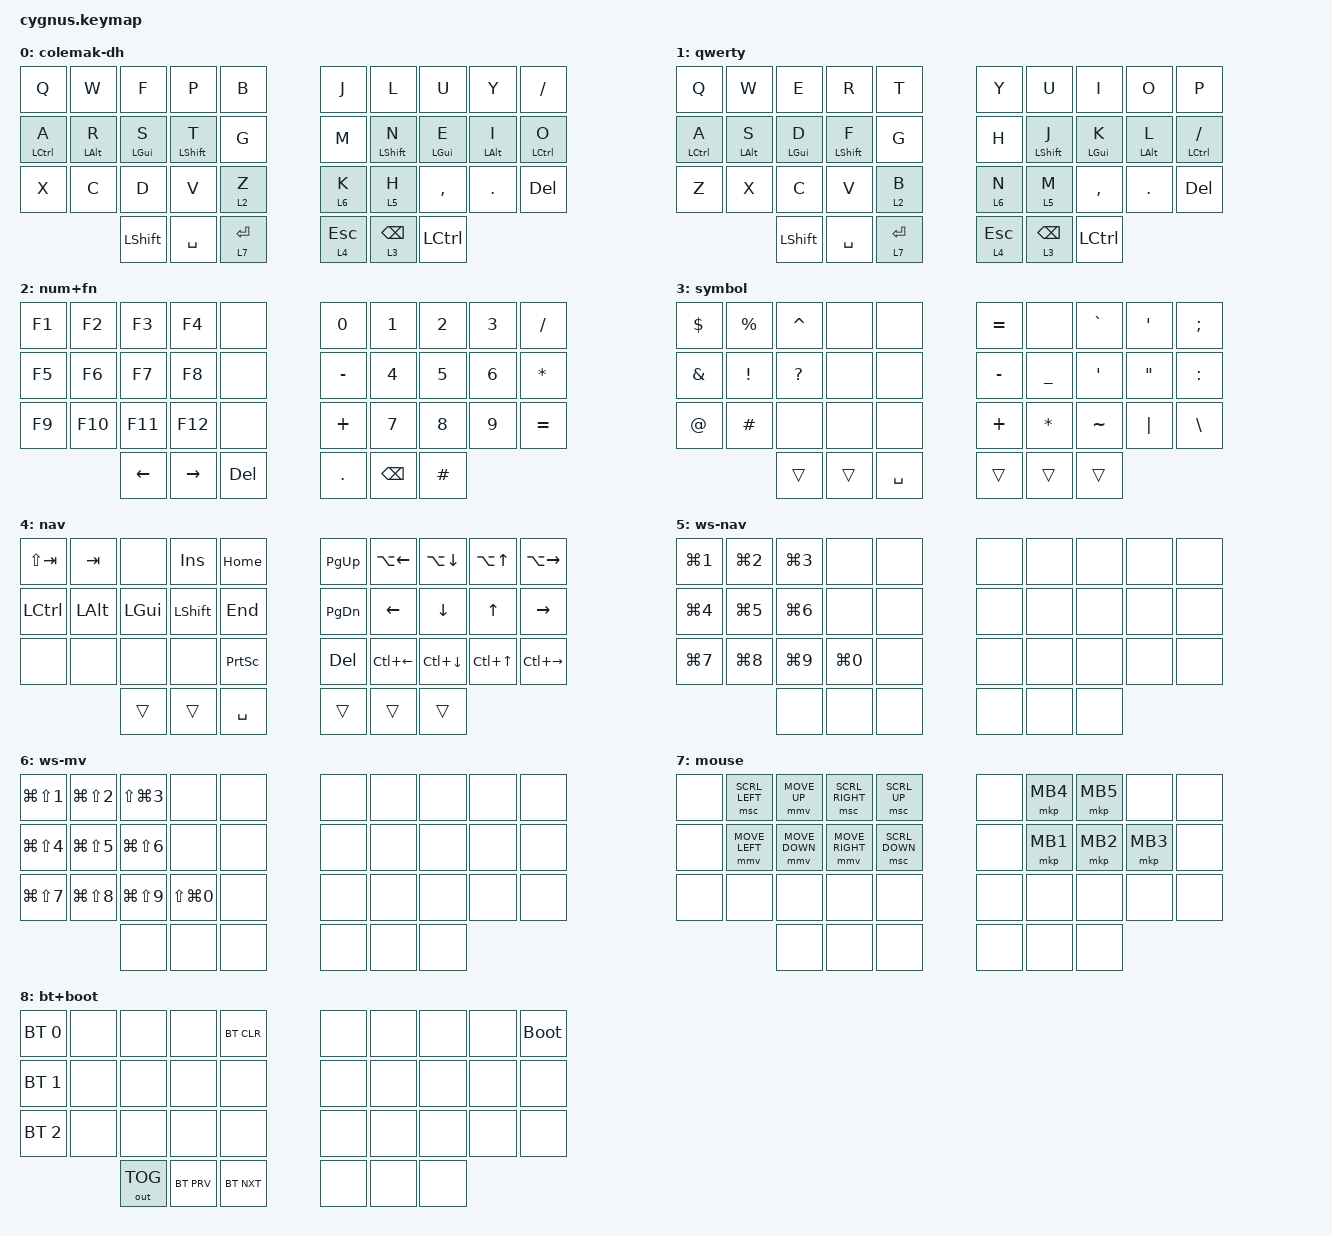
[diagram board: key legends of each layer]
#include <behaviors.dtsi>
#include <dt-bindings/zmk/bt.h>
#include <dt-bindings/zmk/keys.h>
#include <dt-bindings/zmk/outputs.h>

#define ZMK_POINTING_DEFAULT_MOVE_VAL 1500  // default: 600
#define ZMK_POINTING_DEFAULT_SCRL_VAL 20    // default: 10
#include <dt-bindings/zmk/pointing.h>

#define COMBO_TERM_FAST 45
#define COMBO_TERM_SLOW 55
#define COMBO_PRIOR_IDLE 135

#define QUICK_TAP_MS 175
#include "zmk-helpers/key-labels/36.h"
#include "zmk-helpers/helper.h"

/* Homerow mods */
/* use helper macros to define left and right hand keys */
#define KEYS_L LT0 LT1 LT2 LT3 LT4 LM0 LM1 LM2 LM3 LM4 LB0 LB1 LB2 LB3 LB4  // left-hand keys
#define KEYS_R RT0 RT1 RT2 RT3 RT4 RM0 RM1 RM2 RM3 RM4 RB0 RB1 RB2 RB3 RB4  // right-hand keys
#define THUMBS LH2 LH1 LH0 RH0 RH1 RH2                                      // thumb keys

/* left-hand HRMs */
ZMK_HOLD_TAP(hml,
    flavor = "balanced";
    tapping-term-ms = <280>;
    quick-tap-ms = <175>;                // repeat on tap-into-hold
    require-prior-idle-ms = <200>;
    bindings = <&kp>, <&kp>;
    hold-trigger-key-positions = <KEYS_R THUMBS>;
    hold-trigger-on-release;             // delay positional check until key-release
)

/* right-hand HRMs */
ZMK_HOLD_TAP(hmr,
    flavor = "balanced";
    tapping-term-ms = <280>;
    quick-tap-ms = <175>;                // repeat on tap-into-hold
    require-prior-idle-ms = <180>;
    bindings = <&kp>, <&kp>;
    hold-trigger-key-positions = <KEYS_L THUMBS>;
    hold-trigger-on-release;             // delay positional check until key-release
)

/ {
    behaviors {
        lt: layer_tap {
            compatible = "zmk,behavior-hold-tap";
            #binding-cells = <2>;
            flavor = "balanced";
            tapping-term-ms = <240>;
            quick-tap-ms = <125>;
            bindings = <&mo>, <&kp>;
        };

        at: alpha_tap {
            compatible = "zmk,behavior-hold-tap";
            #binding-cells = <2>;
            flavor = "balanced";
            tapping-term-ms = <240>;
            quick-tap-ms = <175>;
            require-prior-idle-ms = <175>;
            bindings = <&mo>, <&kp>;
        };
    };

    combos {
        compatible = "zmk,combos";

        escape {
            bindings = <&kp ESCAPE>;
            key-positions = <8 9>;
            require-prior-idle-ms = <COMBO_PRIOR_IDLE>;
        };

        tab {
            bindings = <&kp TAB>;
            key-positions = <0 1>;
            require-prior-idle-ms = <COMBO_PRIOR_IDLE>;
        };

        ctrl_backspace {
            bindings = <&kp LC(BACKSPACE)>;
            key-positions = <28 29>;
            require-prior-idle-ms = <COMBO_PRIOR_IDLE>;
        };

        caps_word {
            bindings = <&caps_word>;
            key-positions = <14 15>;
            require-prior-idle-ms = <COMBO_PRIOR_IDLE>;
        };

        capslock {
            bindings = <&kp CAPSLOCK>;
            key-positions = <20 29>;
            require-prior-idle-ms = <COMBO_PRIOR_IDLE>;
        };

        sticky_gui {
            bindings = <&sk LGUI>;
            key-positions = <12 17>;
            require-prior-idle-ms = <COMBO_PRIOR_IDLE>;
        };

        sticky_alt {
            bindings = <&sk LALT>;
            key-positions = <11 18>;
            require-prior-idle-ms = <COMBO_PRIOR_IDLE>;
        };

        sticky_ctrl {
            bindings = <&sk LCTRL>;
            key-positions = <10 19>;
            require-prior-idle-ms = <COMBO_PRIOR_IDLE>;
        };

        qwerty_toggle {
            bindings = <&tog 1>;
            key-positions = <3 4 5 6>;
        };

        btconfig {
            bindings = <&mo 8>;
            key-positions = <5 6 7 8>;
        };

        leftpar {
            bindings = <&kp LPAR>;
            key-positions = <23 24>;
            require-prior-idle-ms = <COMBO_PRIOR_IDLE>;
        };

        leftbracket {
            bindings = <&kp LEFT_BRACKET>;
            key-positions = <13 14>;
            require-prior-idle-ms = <COMBO_PRIOR_IDLE>;
        };

        leftbrace {
            bindings = <&kp LEFT_BRACE>;
            key-positions = <3 4>;
            require-prior-idle-ms = <COMBO_PRIOR_IDLE>;
        };

        rightpar {
            bindings = <&kp RPAR>;
            key-positions = <25 26>;
            require-prior-idle-ms = <COMBO_PRIOR_IDLE>;
        };

        rightbracket {
            bindings = <&kp RIGHT_BRACKET>;
            key-positions = <15 16>;
            require-prior-idle-ms = <COMBO_PRIOR_IDLE>;
        };

        rightbrace {
            bindings = <&kp RIGHT_BRACE>;
            key-positions = <5 6>;
            require-prior-idle-ms = <COMBO_PRIOR_IDLE>;
        };

        lessthan {
            bindings = <&kp LESS_THAN>;
            key-positions = <22 23>;
            require-prior-idle-ms = <COMBO_PRIOR_IDLE>;
        };

        greaterthan {
            bindings = <&kp GREATER_THAN>;
            key-positions = <26 27>;
            require-prior-idle-ms = <COMBO_PRIOR_IDLE>;
        };

        macro {
            bindings = <&macro1>;
            key-positions = <7 8 9>;
            layers = <2>;
        };

        macro2 {
            bindings = <&macro2>;
            key-positions = <17 18 19>;
            layers = <2>;
        };

        macro3 {
            bindings = <&macro3>;
            key-positions = <27 28 29>;
            layers = <2>;
        };
        macro4 {
            bindings = <&macro4>;
            key-positions = <26 27 28 29>;
            layers = <2>;
        };
    };

    macros {
        macro1: macro1 {
            compatible = "zmk,behavior-macro";
            #binding-cells = <0>;
            bindings = <&kp T &kp E &kp S &kp T &kp RET>;
            label = "MACRO1";
        };

        macro2: macro2 {
            compatible = "zmk,behavior-macro";
            #binding-cells = <0>;
            bindings = <&kp T &kp E &kp S &kp T &kp RET>;
            label = "MACRO2";
        };

        macro3: macro3 {
            compatible = "zmk,behavior-macro";
            #binding-cells = <0>;
            bindings = <&kp T &kp E &kp S &kp T &kp RET>;
            label = "MACRO3";
        };
        macro4: macro4 {
            compatible = "zmk,behavior-macro";
            #binding-cells = <0>;
            bindings = <&kp T &kp E &kp S &kp T &kp RET>;
            label = "MACRO4";
        };

    };

    keymap {
        compatible = "zmk,keymap";

        colemak-dh {
            bindings = <
  &kp Q         &kp W        &kp F        &kp P          &kp B          &kp J         &kp L            &kp U           &kp Y        &kp SLASH
  &hml LCTRL A  &hml LALT R  &hml LGUI S  &hml LSHIFT T  &kp G          &kp M         &hmr LSHIFT N    &hmr LGUI E     &hmr LALT I  &hmr LCTRL O
  &kp X         &kp C        &kp D        &kp V          &at 2 Z        &at 6 K       &at 5 H          &kp COMMA       &kp DOT      &kp DELETE
                             &kp LSHIFT   &kp SPACE      &lt 7 ENTER    &lt 4 ESC     &lt 3 BACKSPACE  &kp LCTRL

            >;
        };

        qwerty {
            label = "qwerty";
            bindings = <
  &kp Q         &kp W        &kp E         &kp R          &kp T          &kp Y         &kp U               &kp I          &kp O          &kp P
  &hml LCTRL A  &hml LALT S  &hml LGUI D   &hml LSHIFT F  &kp G          &kp H         &hmr LSHIFT J       &hmr LGUI K    &hmr LALT L    &hmr LCTRL SLASH
  &kp Z         &kp X        &kp C         &kp V          &at 2 B        &at 6 N       &at 5 M             &kp COMMA      &kp DOT        &kp DELETE
                             &kp LSHIFT    &kp SPACE      &lt 7 ENTER    &lt 4 ESC     &lt 3 BACKSPACE     &kp LCTRL
            >;
        };

        num+fn {
            label = "num+fn";
            bindings = <
  &kp F1  &kp F2   &kp F3    &kp F4     &none         &kp N0      &kp N1         &kp N2    &kp N3    &kp SLASH
  &kp F5  &kp F6   &kp F7    &kp F8     &none         &kp MINUS   &kp N4         &kp N5    &kp N6    &kp ASTRK
  &kp F9  &kp F10  &kp F11   &kp F12    &none         &kp PLUS    &kp N7         &kp N8    &kp N9    &kp EQUAL
                   &kp LEFT  &kp RIGHT  &kp DELETE    &kp PERIOD  &kp BACKSPACE  &kp HASH
            >;
        };

        symbol {
            label = "symbol";
            bindings = <
  &kp DOLLAR  &kp PERCENT  &kp CARET  &none      &none        &kp EQUAL  &none           &kp GRAVE  &kp SINGLE_QUOTE   &kp SEMICOLON
  &kp AMPS    &kp EXCL     &kp QMARK  &none      &none        &kp MINUS  &kp UNDERSCORE  &kp SQT    &kp DOUBLE_QUOTES  &kp COLON
  &kp AT      &kp HASH     &none      &none      &none        &kp PLUS   &kp ASTERISK    &kp TILDE  &kp PIPE           &kp BACKSLASH
                           &trans     &trans     &kp SPACE    &trans     &trans          &trans
            >;
        };

        nav {
            label = "nav";
            bindings = <
  &kp LS(TAB)  &kp TAB   &none     &kp INSERT  &kp HOME           &kp PAGE_UP    &kp LA(LEFT)  &kp LA(DOWN)  &kp LA(UP)  &kp LA(RIGHT)
  &kp LCTRL    &kp LALT  &kp LGUI  &kp LSHIFT  &kp END            &kp PAGE_DOWN  &kp LEFT      &kp DOWN      &kp UP      &kp RIGHT
  &none        &none     &none     &none       &kp PRINTSCREEN    &kp DELETE     &kp LC(LEFT)  &kp LC(DOWN)  &kp LC(UP)  &kp LC(RIGHT)
                         &trans    &trans      &kp SPACE          &trans         &trans        &trans
            >;
        };

        workspace-nav {
            label = "ws-nav";
            bindings = <
  &kp LG(N1)  &kp LG(N2)  &kp LG(N3)  &none       &none    &none  &none  &none  &none  &none
  &kp LG(N4)  &kp LG(N5)  &kp LG(N6)  &none       &none    &none  &none  &none  &none  &none
  &kp LG(N7)  &kp LG(N8)  &kp LG(N9)  &kp LG(N0)  &none    &none  &none  &none  &none  &none
                          &none       &none       &none    &none  &none  &none
            >;
        };

        workspace-mv {
            label = "ws-mv";
            bindings = <
  &kp LG(LS(N1))  &kp LG(LS(N2))  &kp LS(LG(N3))  &none           &none    &none  &none  &none  &none  &none
  &kp LG(LS(N4))  &kp LG(LS(N5))  &kp LG(LS(N6))  &none           &none    &none  &none  &none  &none  &none
  &kp LG(LS(N7))  &kp LG(LS(N8))  &kp LG(LS(N9))  &kp LS(LG(N0))  &none    &none  &none  &none  &none  &none
                                  &none           &none           &none    &none  &none  &none
            >;
        };

        mouse {
            label = "mouse";
            bindings = <
  &none  &msc SCRL_LEFT  &mmv MOVE_UP    &msc SCRL_RIGHT  &msc SCRL_UP      &none  &mkp MB4  &mkp MB5  &none     &none
  &none  &mmv MOVE_LEFT  &mmv MOVE_DOWN  &mmv MOVE_RIGHT  &msc SCRL_DOWN    &none  &mkp MB1  &mkp MB2  &mkp MB3  &none
  &none  &none           &none           &none            &none             &none  &none     &none     &none     &none
                         &none           &none            &none             &none  &none     &none
            >;
        };

        bt+boot {
            label = "bt+boot";
            bindings = <
  &bt BT_SEL 0  &none  &none         &none       &bt BT_CLR      &none  &none  &none  &none  &bootloader
  &bt BT_SEL 1  &none  &none         &none       &none           &none  &none  &none  &none  &none
  &bt BT_SEL 2  &none  &none         &none       &none           &none  &none  &none  &none  &none
                       &out OUT_TOG  &bt BT_PRV  &bt BT_NXT      &none  &none  &none
            >;
        };
    };
};

